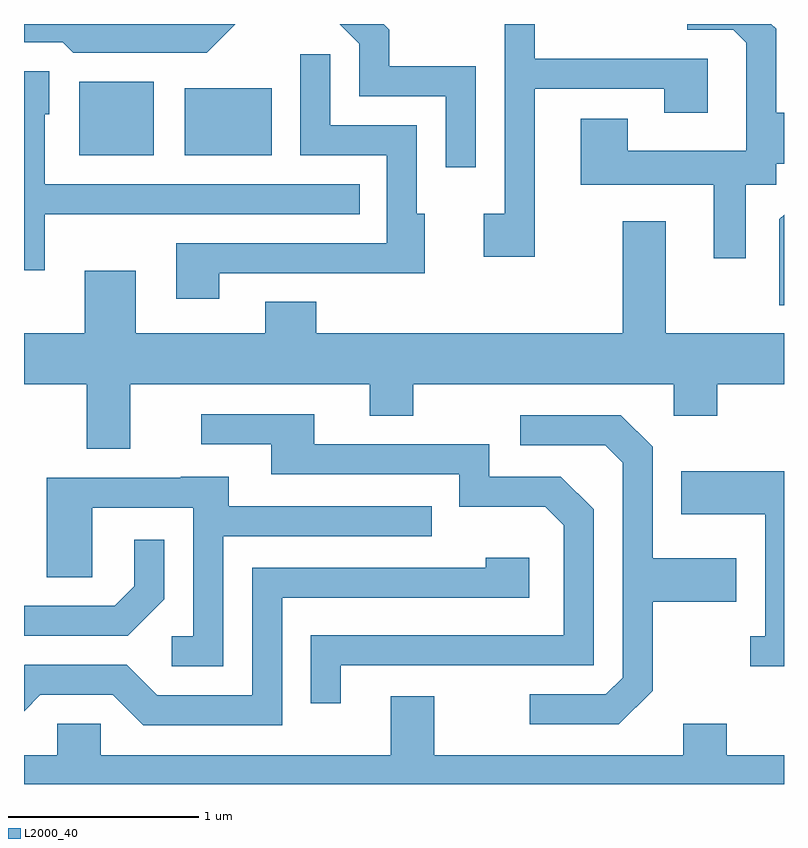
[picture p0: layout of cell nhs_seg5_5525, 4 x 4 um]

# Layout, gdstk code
import gdstk
lib = gdstk.Library(unit=1e-6, precision=1e-09)
def R(c, l, rs):  # rectangles x0, y0, x1, y1
    for r in rs: c.add(gdstk.rectangle(r[:2], r[2:], *l))
def P(c, l, *ps):  # polygons
    for p in ps: c.add(gdstk.Polygon(p, *l))
L2000_40 = (2000, 40)

nhs_seg5_5525 = lib.new_cell('nhs_seg5_5525')
R(nhs_seg5_5525, L2000_40, [(349.901,1411.381,350.294,1411.769), (350.456,1411.381,350.914,1411.734)])
P(nhs_seg5_5525, L2000_40, [(351.989,1411.849),(351.534,1411.849),(351.534,1412.042),(351.504,1412.072),(351.273,1412.072),(351.376,1411.969),(351.376,1411.691),(351.831,1411.691),(351.831,1411.318),(351.989,1411.318)],
  [(350.723,1412.072),(349.611,1412.072),(349.611,1411.976),(349.814,1411.976),(349.869,1411.921),(350.572,1411.921)],
  [(353.409,1411.226),(353.569,1411.226),(353.569,1411.336),(353.611,1411.336),(353.611,1411.604),(353.569,1411.604),(353.569,1412.047),(353.544,1412.072),(353.103,1412.072),(353.103,1412.041),(353.344,1412.041),(353.411,1411.974),(353.411,1411.404),(352.789,1411.404),(352.789,1411.574),(352.541,1411.574),(352.541,1411.226),(353.241,1411.226),(353.241,1410.838),(353.409,1410.838)],
  [(352.299,1411.731),(352.981,1411.731),(352.981,1411.606),(353.209,1411.606),(353.209,1411.889),(352.299,1411.889),(352.299,1412.072),(352.141,1412.072),(352.141,1411.074),(352.031,1411.074),(352.031,1410.846),(352.299,1410.846)],
  [(350.639,1410.761),(351.719,1410.761),(351.719,1411.074),(351.679,1411.074),(351.679,1411.539),(351.224,1411.539),(351.224,1411.913),(351.066,1411.913),(351.066,1411.381),(351.521,1411.381),(351.521,1410.919),(350.411,1410.919),(350.411,1410.626),(350.639,1410.626)],
  [(349.719,1411.071),(351.378,1411.071),(351.378,1411.229),(349.719,1411.229),(349.719,1411.596),(349.744,1411.596),(349.744,1411.824),(349.611,1411.824),(349.611,1410.776),(349.719,1410.776)],
  [(353.611,1411.069),(353.586,1411.044),(353.586,1410.593),(353.611,1410.593)],
  [(350.169,1410.176),(351.431,1410.176),(351.431,1410.011),(351.659,1410.011),(351.659,1410.176),(353.031,1410.176),(353.031,1410.011),(353.259,1410.011),(353.259,1410.176),(353.611,1410.176),(353.611,1410.444),(352.989,1410.444),(352.989,1411.034),(352.761,1411.034),(352.761,1410.444),(351.149,1410.444),(351.149,1410.609),(350.881,1410.609),(350.881,1410.444),(350.199,1410.444),(350.199,1410.774),(349.931,1410.774),(349.931,1410.444),(349.611,1410.444),(349.611,1410.176),(349.941,1410.176),(349.941,1409.836),(350.169,1409.836)],
  [(351.279,1408.696),(352.609,1408.696),(352.609,1409.517),(352.437,1409.689),(352.059,1409.689),(352.059,1409.859),(351.139,1409.859),(351.139,1410.019),(350.543,1410.019),(350.543,1409.861),(350.911,1409.861),(350.911,1409.701),(351.901,1409.701),(351.901,1409.531),(352.354,1409.531),(352.451,1409.434),(352.451,1408.854),(351.121,1408.854),(351.121,1408.498),(351.279,1408.498)],
  [(352.919,1408.564),(352.919,1409.031),(353.359,1409.031),(353.359,1409.259),(352.919,1409.259),(352.919,1409.847),(352.752,1410.014),(352.223,1410.014),(352.223,1409.856),(352.669,1409.856),(352.761,1409.764),(352.761,1408.632),(352.674,1408.544),(352.273,1408.544),(352.273,1408.386),(352.742,1408.386)],
  [(353.611,1409.719),(353.071,1409.719),(353.071,1409.491),(353.511,1409.491),(353.511,1408.849),(353.433,1408.849),(353.433,1408.691),(353.611,1408.691)],
  [(350.659,1409.376),(351.758,1409.376),(351.758,1409.534),(350.689,1409.534),(350.689,1409.689),(350.435,1409.689),(350.435,1409.684),(349.731,1409.684),(349.731,1409.161),(349.969,1409.161),(349.969,1409.526),(350.501,1409.526),(350.501,1408.849),(350.388,1408.849),(350.388,1408.691),(350.659,1408.691)],
  [(350.349,1409.044),(350.349,1409.358),(350.191,1409.358),(350.191,1409.112),(350.089,1409.009),(349.611,1409.009),(349.611,1408.851),(350.157,1408.851)],
  [(350.969,1409.051),(352.269,1409.051),(352.269,1409.264),(352.041,1409.264),(352.041,1409.209),(350.811,1409.209),(350.811,1408.539),(350.312,1408.539),(350.152,1408.699),(349.614,1408.699),(349.611,1408.696),(349.611,1408.455),(349.697,1408.541),(350.079,1408.541),(350.239,1408.381),(350.969,1408.381)],
  [(353.611,1408.224),(353.309,1408.224),(353.309,1408.389),(353.081,1408.389),(353.081,1408.224),(351.769,1408.224),(351.769,1408.534),(351.541,1408.534),(351.541,1408.224),(350.014,1408.224),(350.014,1408.389),(349.786,1408.389),(349.786,1408.224),(349.611,1408.224),(349.611,1408.072),(353.611,1408.072)])

lib.write_gds('nhs_seg5_5525.gds')
